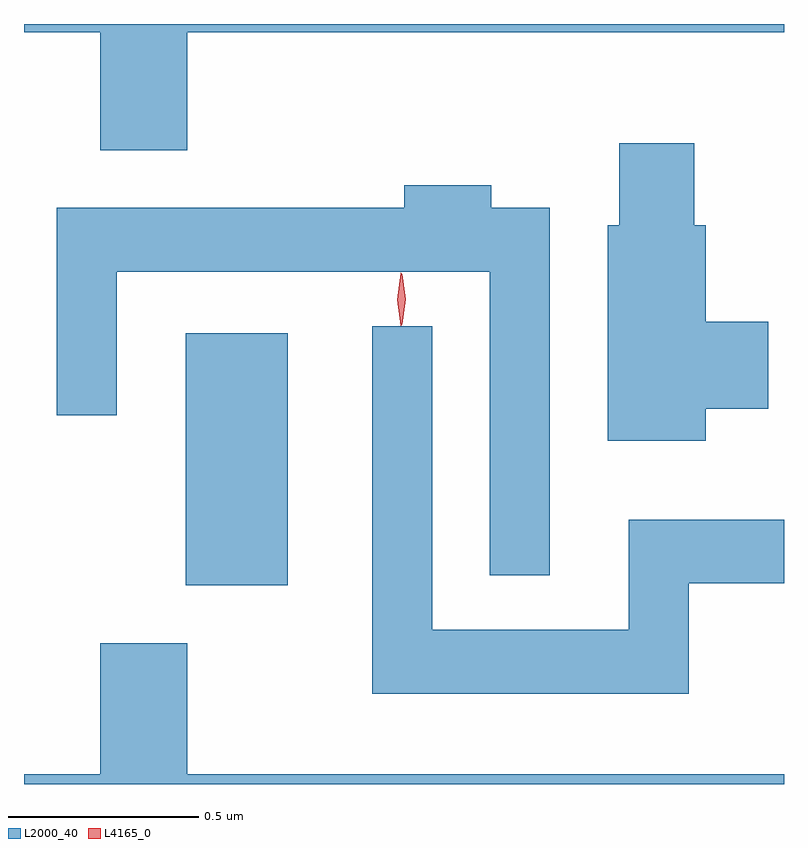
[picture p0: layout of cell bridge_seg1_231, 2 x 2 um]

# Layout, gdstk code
import gdstk
lib = gdstk.Library(unit=1e-6, precision=1e-09)
def R(c, l, rs):  # rectangles x0, y0, x1, y1
    for r in rs: c.add(gdstk.rectangle(r[:2], r[2:], *l))
def P(c, l, *ps):  # polygons
    for p in ps: c.add(gdstk.Polygon(p, *l))
L2000_40 = (2000, 40)
L4165_0 = (4165, 0)

bridge_seg1_231 = lib.new_cell('bridge_seg1_231')
R(bridge_seg1_231, L2000_40, [(831.686,884.801,831.954,885.464)])
P(bridge_seg1_231, L2000_40, [(831.689,886.256),(833.26,886.256),(833.26,886.278),(831.26,886.278),(831.26,886.256),(831.461,886.256),(831.461,885.946),(831.689,885.946)],
  [(833.054,885.266),(833.219,885.266),(833.219,885.494),(833.054,885.494),(833.054,885.749),(833.024,885.749),(833.024,885.964),(832.826,885.964),(832.826,885.749),(832.796,885.749),(832.796,885.181),(833.054,885.181)],
  [(832.644,885.794),(832.489,885.794),(832.489,885.854),(832.261,885.854),(832.261,885.794),(831.346,885.794),(831.346,885.248),(831.504,885.248),(831.504,885.626),(832.486,885.626),(832.486,884.828),(832.644,884.828)],
  [(833.009,884.806),(833.26,884.806),(833.26,884.974),(832.851,884.974),(832.851,884.684),(832.334,884.684),(832.334,885.483),(832.176,885.483),(832.176,884.516),(833.009,884.516)],
  [(833.26,884.304),(831.689,884.304),(831.689,884.649),(831.461,884.649),(831.461,884.304),(831.26,884.304),(831.26,884.278),(833.26,884.278)])
P(bridge_seg1_231, L4165_0, [(832.252,885.484),(832.252,885.484),(832.242,885.553),(832.252,885.622),(832.252,885.623),(832.253,885.622),(832.262,885.553),(832.253,885.484)],
  [(832.254,885.487),(832.254,885.488),(832.244,885.554),(832.254,885.62),(832.254,885.621),(832.255,885.62),(832.264,885.554),(832.255,885.488)])

lib.write_gds('bridge_seg1_231.gds')
